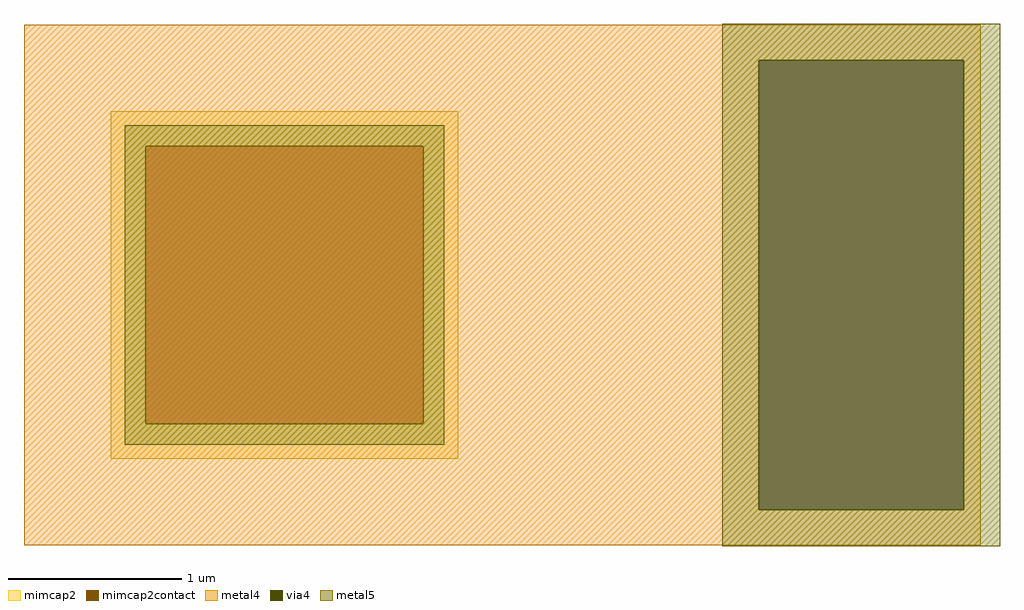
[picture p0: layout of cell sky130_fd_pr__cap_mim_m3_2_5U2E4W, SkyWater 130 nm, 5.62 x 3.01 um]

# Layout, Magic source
magic
tech sky130A
magscale 1 2
<< metal4 >>
rect -551 259 551 300
rect -551 -259 295 259
rect 531 -259 551 259
rect -551 -300 551 -259
<< via4 >>
rect 295 -259 531 259
<< mimcap2 >>
rect -451 160 -51 200
rect -451 -160 -411 160
rect -91 -160 -51 160
rect -451 -200 -51 -160
<< mimcap2contact >>
rect -411 -160 -91 160
<< metal5 >>
rect 253 259 573 301
rect -435 160 -67 184
rect -435 -160 -411 160
rect -91 -160 -67 160
rect -435 -184 -67 -160
rect 253 -259 295 259
rect 531 -259 573 259
rect 253 -301 573 -259
<< properties >>
string gencell sky130_fd_pr__cap_mim_m3_2
string FIXED_BBOX -551 -300 49 300
string parameters w 2.00 l 2.00 val 5.36 carea 1.00 cperi 0.17 nx 1 ny 1 dummy 0 square 1 lmin 2.00 wmin 2.00 lmax 30.0 wmax 30.0 dc 0 bconnect 1 tconnect 1 ccov 0
string library sky130
<< end >>
